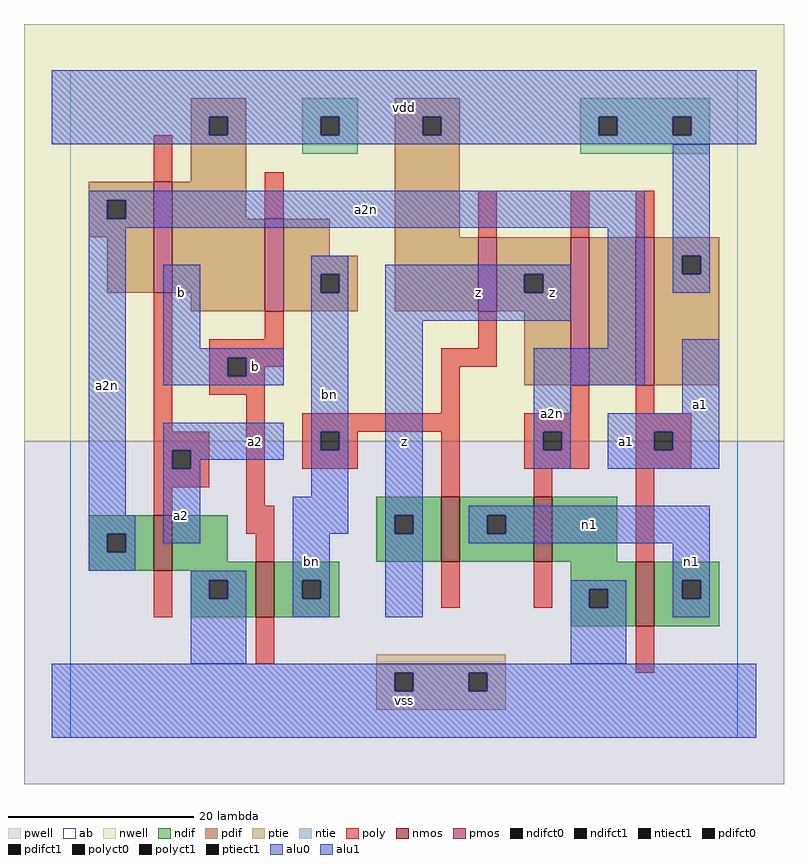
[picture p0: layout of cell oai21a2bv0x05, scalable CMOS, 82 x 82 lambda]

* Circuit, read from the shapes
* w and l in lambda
.subckt oai21a2bv0x05 a1 a2 a2n b bn n1 vdd vss z
M1 vss a2 a2n vss nfet w=6 l=2
M2 bn b vss vss nfet w=6 l=2
M3 n1 bn z vss nfet w=7 l=2
M4 vss a2n n1 vss nfet w=7 l=2
M5 n1 a1 vss vss nfet w=7 l=2
M6 vdd a2 a2n vdd pfet w=12 l=2
M7 bn b vdd vdd pfet w=10 l=2
M8 z bn vdd vdd pfet w=8 l=2
M9 n2 a2n z vdd pfet w=16 l=2
M10 vdd a1 n2 vdd pfet w=16 l=2
.ends

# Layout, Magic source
magic
tech scmos
<< ab >>
rect 0 0 72 72
<< nwell >>
rect -5 32 77 77
<< pwell >>
rect -5 -5 77 32
<< poly >>
rect 9 60 11 65
rect 21 56 23 61
rect 9 33 11 48
rect 44 54 46 59
rect 54 54 56 59
rect 61 54 63 59
rect 21 43 23 46
rect 15 41 23 43
rect 44 42 46 46
rect 15 39 17 41
rect 19 40 23 41
rect 40 40 46 42
rect 19 39 21 40
rect 15 37 21 39
rect 9 31 15 33
rect 9 29 11 31
rect 13 29 15 31
rect 9 27 15 29
rect 9 24 11 27
rect 19 25 21 37
rect 40 35 42 40
rect 54 35 56 38
rect 25 33 42 35
rect 25 31 27 33
rect 29 31 31 33
rect 25 29 31 31
rect 40 26 42 33
rect 49 33 56 35
rect 49 31 51 33
rect 53 31 56 33
rect 49 29 56 31
rect 61 35 63 38
rect 61 33 67 35
rect 61 31 63 33
rect 65 31 67 33
rect 61 29 67 31
rect 50 26 52 29
rect 19 22 22 25
rect 20 19 22 22
rect 61 19 63 29
rect 9 13 11 18
rect 40 14 42 19
rect 50 14 52 19
rect 20 8 22 13
rect 61 7 63 12
<< ndif >>
rect 2 22 9 24
rect 2 20 4 22
rect 6 20 9 22
rect 2 18 9 20
rect 11 19 17 24
rect 33 24 40 26
rect 33 22 35 24
rect 37 22 40 24
rect 33 19 40 22
rect 42 24 50 26
rect 42 22 45 24
rect 47 22 50 24
rect 42 19 50 22
rect 52 19 59 26
rect 11 18 20 19
rect 13 17 20 18
rect 13 15 15 17
rect 17 15 20 17
rect 13 13 20 15
rect 22 17 29 19
rect 22 15 25 17
rect 27 15 29 17
rect 22 13 29 15
rect 54 16 61 19
rect 54 14 56 16
rect 58 14 61 16
rect 54 12 61 14
rect 63 17 70 19
rect 63 15 66 17
rect 68 15 70 17
rect 63 12 70 15
<< pdif >>
rect 13 67 19 69
rect 13 65 15 67
rect 17 65 19 67
rect 13 60 19 65
rect 35 67 42 69
rect 35 65 38 67
rect 40 65 42 67
rect 2 58 9 60
rect 2 56 4 58
rect 6 56 9 58
rect 2 54 9 56
rect 4 48 9 54
rect 11 56 19 60
rect 11 48 21 56
rect 13 46 21 48
rect 23 52 28 56
rect 35 54 42 65
rect 23 50 31 52
rect 23 48 27 50
rect 29 48 31 50
rect 23 46 31 48
rect 35 46 44 54
rect 46 50 54 54
rect 46 48 49 50
rect 51 48 54 50
rect 46 46 54 48
rect 49 38 54 46
rect 56 38 61 54
rect 63 52 70 54
rect 63 50 66 52
rect 68 50 70 52
rect 63 38 70 50
<< alu1 >>
rect -2 67 74 72
rect -2 65 15 67
rect 17 65 27 67
rect 29 65 38 67
rect 40 65 57 67
rect 59 65 65 67
rect 67 65 74 67
rect -2 64 74 65
rect 10 42 14 51
rect 10 41 23 42
rect 10 39 17 41
rect 19 39 23 41
rect 10 38 23 39
rect 10 31 23 34
rect 10 29 11 31
rect 13 30 23 31
rect 13 29 14 30
rect 10 21 14 29
rect 34 50 54 51
rect 34 48 49 50
rect 51 48 54 50
rect 34 45 54 48
rect 34 24 38 45
rect 66 35 70 43
rect 58 33 70 35
rect 58 31 63 33
rect 65 31 70 33
rect 58 29 70 31
rect 34 22 35 24
rect 37 22 38 24
rect 34 13 38 22
rect -2 7 74 8
rect -2 5 35 7
rect 37 5 43 7
rect 45 5 74 7
rect -2 0 74 5
<< ptie >>
rect 33 7 47 9
rect 33 5 35 7
rect 37 5 43 7
rect 45 5 47 7
rect 33 3 47 5
<< ntie >>
rect 25 67 31 69
rect 25 65 27 67
rect 29 65 31 67
rect 25 63 31 65
rect 55 67 69 69
rect 55 65 57 67
rect 59 65 65 67
rect 67 65 69 67
rect 55 63 69 65
<< nmos >>
rect 9 18 11 24
rect 40 19 42 26
rect 50 19 52 26
rect 20 13 22 19
rect 61 12 63 19
<< pmos >>
rect 9 48 11 60
rect 21 46 23 56
rect 44 46 46 54
rect 54 38 56 54
rect 61 38 63 54
<< polyct0 >>
rect 27 31 29 33
rect 51 31 53 33
<< polyct1 >>
rect 17 39 19 41
rect 11 29 13 31
rect 63 31 65 33
<< ndifct0 >>
rect 4 20 6 22
rect 45 22 47 24
rect 15 15 17 17
rect 25 15 27 17
rect 56 14 58 16
rect 66 15 68 17
<< ndifct1 >>
rect 35 22 37 24
<< ntiect1 >>
rect 27 65 29 67
rect 57 65 59 67
rect 65 65 67 67
<< ptiect1 >>
rect 35 5 37 7
rect 43 5 45 7
<< pdifct0 >>
rect 4 56 6 58
rect 27 48 29 50
rect 66 50 68 52
<< pdifct1 >>
rect 15 65 17 67
rect 38 65 40 67
rect 49 48 51 50
<< alu0 >>
rect 2 58 62 59
rect 2 56 4 58
rect 6 56 62 58
rect 2 55 62 56
rect 2 24 6 55
rect 26 50 30 52
rect 26 48 27 50
rect 29 48 30 50
rect 26 33 30 48
rect 26 31 27 33
rect 29 31 30 33
rect 2 22 7 24
rect 2 20 4 22
rect 6 20 7 22
rect 26 26 30 31
rect 24 22 30 26
rect 58 42 62 55
rect 65 52 69 64
rect 65 50 66 52
rect 68 50 69 52
rect 65 48 69 50
rect 50 38 62 42
rect 50 33 54 38
rect 50 31 51 33
rect 53 31 54 33
rect 50 29 54 31
rect 2 18 7 20
rect 13 17 19 18
rect 13 15 15 17
rect 17 15 19 17
rect 13 8 19 15
rect 24 17 28 22
rect 24 15 25 17
rect 27 15 28 17
rect 24 13 28 15
rect 43 24 69 25
rect 43 22 45 24
rect 47 22 69 24
rect 43 21 69 22
rect 65 17 69 21
rect 54 16 60 17
rect 54 14 56 16
rect 58 14 60 16
rect 54 8 60 14
rect 65 15 66 17
rect 68 15 69 17
rect 65 13 69 15
<< labels >>
rlabel alu0 4 38 4 38 6 a2n
rlabel alu0 26 19 26 19 6 bn
rlabel alu0 28 37 28 37 6 bn
rlabel alu0 67 19 67 19 6 n1
rlabel alu0 56 23 56 23 6 n1
rlabel alu0 52 35 52 35 6 a2n
rlabel alu0 32 57 32 57 6 a2n
rlabel alu1 12 24 12 24 6 a2
rlabel alu1 12 48 12 48 6 b
rlabel alu1 20 32 20 32 6 a2
rlabel alu1 20 40 20 40 6 b
rlabel alu1 36 4 36 4 6 vss
rlabel alu1 36 32 36 32 6 z
rlabel alu1 44 48 44 48 6 z
rlabel alu1 52 48 52 48 6 z
rlabel alu1 36 68 36 68 6 vdd
rlabel alu1 60 32 60 32 6 a1
rlabel alu1 68 36 68 36 6 a1
<< end >>
